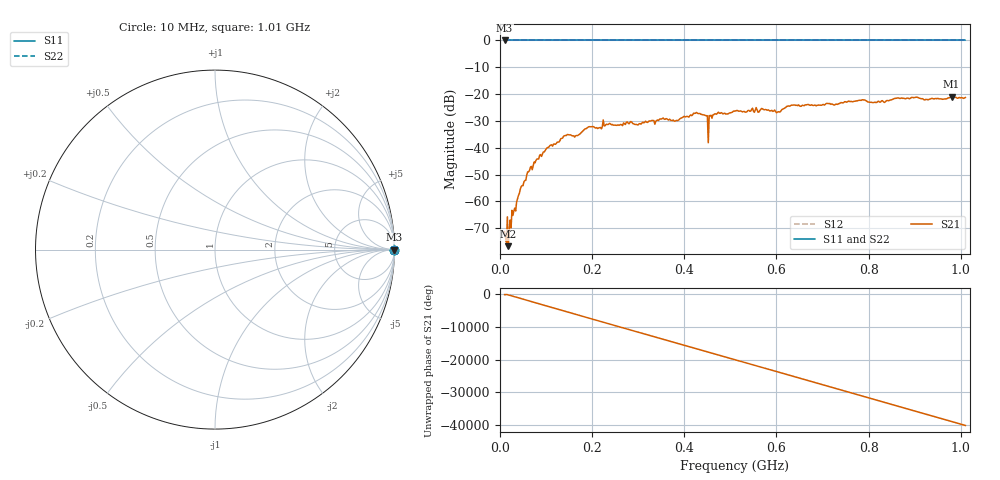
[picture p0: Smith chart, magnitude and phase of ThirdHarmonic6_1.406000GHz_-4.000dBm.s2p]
! 8/16/2025 4:05:36 PM
! C:\ANRITSUVNA\TEMP\TEMP.S2P
! CHANNEL.1
! TR.MEASUREMENT
! RAW.DATA
! RF.CORRECTION.OFF
! AVERAGING.OFF
! IF.BANDWIDTH: 5KHZ
! SWEEPTYPE:  FREQ.SWEEP(Linear)
! Reference Plane Port Info
! PORT:  PORT1  PORT2
! DISTANCE:  0  m  0  m
! TIME:  0  s  0  s
! PHASE.OFFSET:  0  deg.  0  deg.
! LOSS:  0  dB  0  dB
! REF.LOSS:  0  dB  0  dB
! REF.FREQ:  0  Hz  0  Hz
! Power Info
! POWER:  -20  dBm  -20  dBm
! EFF.POWER:  -20  dBm  -20  dBm
! SOURCE.ATTEN:  0  dB  0  dB
! TEST.ATTEN:  0  dB  0  dB
# GHZ S RI R 50.0
! FREQ.GHZ  S11RE  S11IM  S21RE  S21IM  S12RE  S12IM  S22RE  S22IM
!; PortSelection: Port_12
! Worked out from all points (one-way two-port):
!   501 points, 10 MHz to 1.01 GHz, reference 50 ohm
!   highest |S21| = -20.98 dB at 980 MHz (marker M1); lowest = -76.7 dB at 18 MHz (marker M2)
!   lowest |S11| = 0.0 dB at 10 MHz (marker M3)
!   |S11| at or under -10 dB: nowhere
!   |S22| runs from 0.0 to 0.0 dB; largest |S21 - S12| = 1.1
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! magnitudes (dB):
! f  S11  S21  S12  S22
! 10 MHz  0.0  -71.3  0.0  0.0
! 18 MHz  0.0  -76.7  0.0  0.0
! 44 MHz  0.0  -55.5  0.0  0.0
! 78 MHz  0.0  -44.7  0.0  0.0
! 142 MHz  0.0  -35.4  0.0  0.0
! 178 MHz  0.0  -34.1  0.0  0.0
! 228 MHz  0.0  -31.8  0.0  0.0
! 344 MHz  0.0  -29.8  0.0  0.0
! 382 MHz  0.0  -29.9  0.0  0.0
! 424 MHz  0.0  -27.1  0.0  0.0
! 446 MHz  0.0  -28.0  0.0  0.0
! 448 MHz  0.0  -28.0  0.0  0.0
! 456 MHz  0.0  -28.1  0.0  0.0
! 458 MHz  0.0  -27.9  0.0  0.0
! 470 MHz  0.0  -27.5  0.0  0.0
! 510 MHz  0.0  -26.3  0.0  0.0
! 604 MHz  0.0  -26.6  0.0  0.0
! 634 MHz  0.0  -24.1  0.0  0.0
! 678 MHz  0.0  -24.2  0.0  0.0
! 844 MHz  0.0  -22.4  0.0  0.0
! 980 MHz  0.0  -21.0  0.0  0.0
! 1.01 GHz  0.0  -21.3  0.0  0.0
